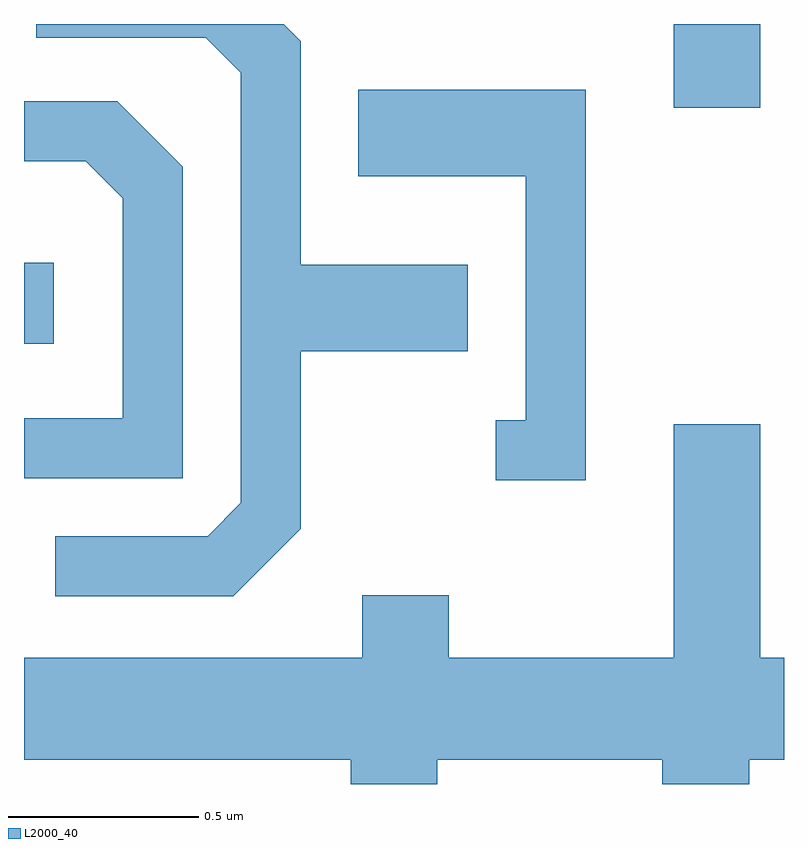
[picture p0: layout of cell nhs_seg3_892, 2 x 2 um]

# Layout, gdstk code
import gdstk
lib = gdstk.Library(unit=1e-6, precision=1e-09)
def R(c, l, rs):  # rectangles x0, y0, x1, y1
    for r in rs: c.add(gdstk.rectangle(r[:2], r[2:], *l))
def P(c, l, *ps):  # polygons
    for p in ps: c.add(gdstk.Polygon(p, *l))
L2000_40 = (2000, 40)

nhs_seg3_892 = lib.new_cell('nhs_seg3_892')
R(nhs_seg3_892, L2000_40, [(191.611,1187.051,191.689,1187.264), (193.321,1187.671,193.549,1187.892)])
P(nhs_seg3_892, L2000_40, [(192.339,1186.564),(192.339,1187.031),(192.779,1187.031),(192.779,1187.259),(192.339,1187.259),(192.339,1187.847),(192.294,1187.892),(191.643,1187.892),(191.643,1187.856),(192.089,1187.856),(192.181,1187.764),(192.181,1186.632),(192.094,1186.544),(191.693,1186.544),(191.693,1186.386),(192.162,1186.386)],
  [(193.089,1187.719),(192.491,1187.719),(192.491,1187.491),(192.931,1187.491),(192.931,1186.849),(192.853,1186.849),(192.853,1186.691),(193.089,1186.691)],
  [(192.029,1187.517),(191.857,1187.689),(191.611,1187.689),(191.611,1187.531),(191.774,1187.531),(191.871,1187.434),(191.871,1186.854),(191.611,1186.854),(191.611,1186.696),(192.029,1186.696)],
  [(192.699,1185.956),(193.291,1185.956),(193.291,1185.892),(193.519,1185.892),(193.519,1185.956),(193.611,1185.956),(193.611,1186.224),(193.549,1186.224),(193.549,1186.839),(193.321,1186.839),(193.321,1186.224),(192.729,1186.224),(192.729,1186.389),(192.501,1186.389),(192.501,1186.224),(191.611,1186.224),(191.611,1185.956),(192.471,1185.956),(192.471,1185.892),(192.699,1185.892)])

lib.write_gds('nhs_seg3_892.gds')
